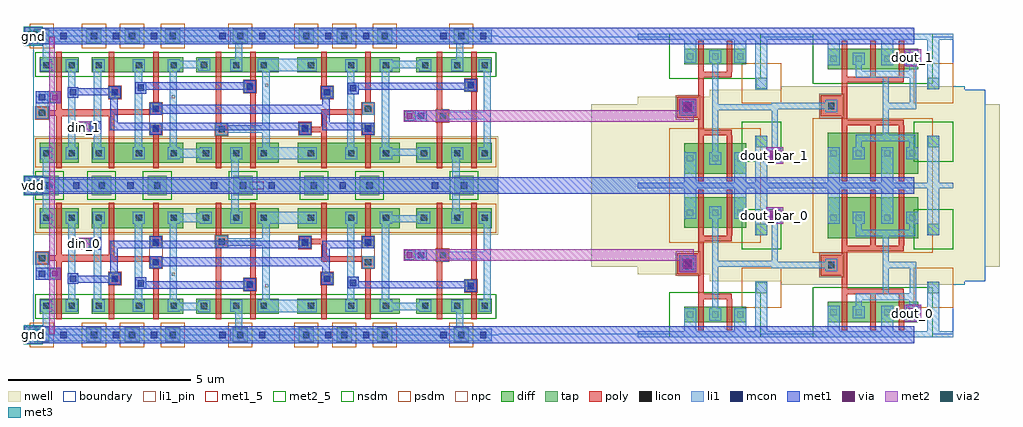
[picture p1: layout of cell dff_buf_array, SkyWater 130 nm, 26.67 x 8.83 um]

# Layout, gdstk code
import gdstk
lib = gdstk.Library(unit=1e-6, precision=1e-09)
def R(c, l, rs):  # rectangles x0, y0, x1, y1
    for r in rs: c.add(gdstk.rectangle(r[:2], r[2:], *l))
def A(c, l, x, y, w, h, nx, ny, dx, dy):  # array of equal rectangles
    R(c, l, [(x+i*dx, y+j*dy, x+i*dx+w, y+j*dy+h) for i in range(nx) for j in range(ny)])
nwell = (64, 20)
diff = (65, 20)
tap = (65, 44)
poly = (66, 20)
licon = (66, 44)
li1_pin = (67, 16)
li1 = (67, 20)
mcon = (67, 44)
met1_5 = (68, 5)
met1 = (68, 20)
via = (68, 44)
met2_5 = (69, 5)
met2 = (69, 20)
via2 = (69, 44)
met3 = (70, 20)
nsdm = (93, 44)
psdm = (94, 20)
npc = (95, 20)
boundary = (235, 4)

dff = lib.new_cell('dff')
R(dff, nwell, [(-1.06,2.71,11.65,4.51)])
R(dff, diff, [(-0.88,0.55,0.19,0.97), (0.55,0.55,3.05,0.97), (3.4,0.55,5.65,0.97), (6.16,0.55,8.96,0.97), (9.41,0.55,11.47,0.97), (-0.88,2.89,0.19,3.44), (0.55,2.89,3.05,3.44), (3.4,2.89,5.66,3.44), (6.17,2.89,8.96,3.44), (9.41,2.89,11.47,3.44)])
R(dff, tap, [(-1.03,-0.23,-0.62,0.18), (0.4,-0.23,0.81,0.18), (1.44,-0.23,1.85,0.18), (2.55,-0.23,2.96,0.18), (4.4,-0.23,4.81,0.18), (6.2,-0.23,6.61,0.18), (7.24,-0.23,7.65,0.18), (8.35,-0.23,8.76,0.18), (10.44,-0.23,10.85,0.18), (-0.88,3.8,-0.35,4.33), (0.55,3.8,1.08,4.33), (2.07,3.8,2.6,4.33), (4.41,3.8,4.94,4.33), (6.35,3.8,6.88,4.33), (7.87,3.8,8.4,4.33), (10.45,3.8,10.98,4.33)])
R(dff, poly, [(-0.42,0.4,-0.27,1.97), (1.01,0.4,1.16,1.35), (2.22,0.4,2.37,1.8), (3.93,0.4,4.08,2.36), (4.88,0.4,5.03,1.19), (6.81,0.4,6.96,1.35), (8.02,0.4,8.17,1.8), (9.97,0.4,10.12,1.99), (10.92,0.4,11.07,1.15), (10.74,1.15,11.07,1.48), (4.7,1.19,5.03,1.52), (1.01,1.35,1.34,1.68), (6.81,1.35,7.14,1.68), (10.92,1.48,11.07,3.59), (4.88,1.52,5.03,3.59), (2.13,1.8,2.46,1.97), (7.93,1.8,8.26,1.97), (-0.98,1.91,-0.65,2), (-0.42,1.97,2.46,2), (6.81,1.97,8.26,2.13), (9.97,1.99,10.3,2.32), (-0.98,2,2.46,2.13), (-0.98,2.13,1.16,2.15), (6.81,2.13,6.96,2.45), (-0.98,2.15,-0.65,2.24), (-0.42,2.15,1.16,2.17), (-0.42,2.17,-0.27,3.59), (1.01,2.17,1.16,3.59), (9.97,2.32,10.12,3.59), (2.13,2.34,2.46,2.67), (6.21,2.34,6.54,2.45), (7.93,2.34,8.26,2.67), (3.93,2.36,4.26,2.69), (6.21,2.45,6.96,2.6), (6.21,2.6,6.54,2.67), (6.81,2.6,6.96,3.59), (2.22,2.67,2.37,3.59), (8.02,2.67,8.17,3.59), (3.93,2.69,4.08,3.59)])
R(dff, licon, [(-0.91,-0.11,-0.74,0.06), (0.52,-0.11,0.69,0.06), (1.56,-0.11,1.73,0.06), (2.67,-0.11,2.84,0.06), (4.52,-0.11,4.69,0.06), (6.32,-0.11,6.49,0.06), (7.36,-0.11,7.53,0.06), (8.47,-0.11,8.64,0.06), (10.56,-0.11,10.73,0.06), (3.53,0.68,3.7,0.85), (-0.78,0.69,-0.61,0.86), (-0.09,0.69,0.08,0.86), (0.65,0.69,0.82,0.86), (1.75,0.69,1.92,0.86), (2.7,0.69,2.87,0.86), (4.41,0.69,4.58,0.86), (5.16,0.69,5.33,0.86), (6.45,0.69,6.62,0.86), (7.55,0.69,7.72,0.86), (8.5,0.69,8.67,0.86), (9.57,0.69,9.74,0.86), (10.45,0.69,10.62,0.86), (11.2,0.69,11.37,0.86), (10.82,1.23,10.99,1.4), (4.78,1.27,4.95,1.44), (1.09,1.43,1.26,1.6), (6.89,1.43,7.06,1.6), (2.21,1.88,2.38,2.05), (8.01,1.88,8.18,2.05), (-0.9,1.99,-0.73,2.16), (10.05,2.07,10.22,2.24), (2.21,2.42,2.38,2.59), (6.29,2.42,6.46,2.59), (8.01,2.42,8.18,2.59), (4.01,2.44,4.18,2.61), (-0.78,3.09,-0.61,3.26), (-0.09,3.09,0.08,3.26), (0.65,3.09,0.82,3.26), (1.75,3.09,1.92,3.26), (2.7,3.09,2.87,3.26), (3.58,3.09,3.75,3.26), (4.41,3.09,4.58,3.26), (5.16,3.09,5.33,3.26), (6.45,3.09,6.62,3.26), (7.55,3.09,7.72,3.26), (8.5,3.09,8.67,3.26), (9.54,3.09,9.71,3.26), (10.45,3.09,10.62,3.26), (11.2,3.09,11.37,3.26), (-0.7,3.98,-0.53,4.15), (0.73,3.98,0.9,4.15), (2.25,3.98,2.42,4.15), (4.59,3.98,4.76,4.15), (6.53,3.98,6.7,4.15), (8.05,3.98,8.22,4.15), (10.63,3.98,10.8,4.15)])
R(dff, li1_pin, [(5.29,1.28,5.37,1.36), (1.83,1.34,1.91,1.41), (7.65,1.34,7.73,1.41), (1.11,1.44,1.22,1.57), (2.73,1.6,2.81,1.68), (8.52,3.1,8.62,3.22)])
R(dff, li1, [(-1.06,-0.19,11.47,0.14), (-0.8,0.14,-0.6,0.61), (4.46,0.14,4.66,0.61), (10.5,0.14,10.7,0.61), (3.45,0.6,3.78,0.65), (5.08,0.6,6.7,0.94), (-0.86,0.61,-0.53,0.94), (-0.17,0.61,0.16,0.94), (0.57,0.61,0.9,0.94), (1.67,0.61,2,0.94), (2.62,0.61,2.95,0.65), (4.33,0.61,4.66,0.94), (7.47,0.61,7.8,0.94), (8.42,0.61,8.75,0.65), (9.49,0.61,9.82,0.65), (10.37,0.61,10.7,0.94), (11.12,0.61,11.45,0.94), (2.62,0.65,3.78,0.85), (8.42,0.65,9.82,0.85), (2.62,0.85,2.95,0.94), (3.45,0.85,3.78,0.93), (8.42,0.85,8.75,0.94), (9.49,0.85,9.82,0.94), (-0.1,0.94,0.1,1.37), (0.6,0.94,0.8,2.33), (1.72,0.94,1.92,1.24), (2.67,0.94,2.87,3.01), (5.21,0.94,5.41,2.42), (7.52,0.94,7.72,1.25), (8.47,0.94,8.67,3.01), (11.25,0.94,11.45,2.05), (10.74,1.15,11.07,1.48), (4.7,1.19,5.03,1.52), (1.72,1.24,2.04,1.55), (7.52,1.25,7.84,1.56), (1.01,1.35,1.34,1.68), (6.81,1.35,7.14,1.68), (-0.11,1.37,0.18,1.66), (-0.98,1.49,-0.65,2.24), (1.72,1.55,1.92,3.01), (7.52,1.56,7.72,3.01), (-0.1,1.66,0.1,3.01), (2.13,1.8,2.46,2.13), (7.93,1.8,8.26,2.13), (9.97,1.99,10.3,2), (9.39,2,10.3,2.05), (9.39,2.05,11.45,2.25), (9.39,2.25,10.3,2.32), (11.25,2.25,11.45,3.01), (0.52,2.33,0.8,2.61), (2.13,2.34,2.46,2.67), (6.21,2.34,6.54,2.67), (7.93,2.34,8.26,2.67), (3.93,2.36,4.26,2.42), (3.93,2.42,5.41,2.62), (0.6,2.61,0.8,3.01), (3.93,2.62,4.26,2.69), (5.21,2.62,5.41,3.01), (-0.86,3.01,-0.53,3.34), (-0.17,3.01,0.16,3.34), (0.57,3.01,0.9,3.34), (1.67,3.01,2,3.34), (2.62,3.01,2.95,3.05), (3.5,3.01,3.83,3.05), (4.33,3.01,4.66,3.34), (5.08,3.01,6.7,3.34), (7.47,3.01,7.8,3.34), (8.42,3.01,8.75,3.05), (9.46,3.01,9.79,3.05), (10.37,3.01,10.7,3.34), (11.12,3.01,11.45,3.34), (2.62,3.05,3.83,3.3), (8.42,3.05,9.79,3.25), (8.42,3.25,8.75,3.34), (9.46,3.25,9.79,3.34), (2.62,3.3,2.95,3.34), (3.5,3.3,3.83,3.34), (-0.8,3.34,-0.6,3.9), (4.36,3.34,4.56,3.9), (10.4,3.34,10.6,3.9), (-1,3.9,11.65,4.23)])
R(dff, mcon, [(-0.31,-0.11,-0.14,0.06), (1.12,-0.11,1.29,0.06), (2.16,-0.11,2.33,0.06), (4.03,-0.11,4.2,0.06), (5.12,-0.11,5.29,0.06), (6.92,-0.11,7.09,0.06), (7.96,-0.11,8.13,0.06), (10.07,-0.11,10.24,0.06), (11.16,-0.11,11.33,0.06), (10.82,1.23,10.99,1.4), (4.78,1.27,4.95,1.44), (1.8,1.3,1.97,1.47), (7.6,1.31,7.77,1.48), (-0.05,1.43,0.12,1.6), (1.09,1.43,1.26,1.6), (6.89,1.43,7.06,1.6), (-0.9,1.56,-0.73,1.73), (2.21,1.88,2.38,2.05), (9.46,2.07,9.63,2.24), (0.57,2.38,0.74,2.55), (2.21,2.42,2.38,2.59), (6.29,2.42,6.46,2.59), (8.01,2.42,8.18,2.59), (0.04,3.98,0.21,4.15), (1.52,3.98,1.69,4.15), (3.8,3.98,3.97,4.15), (5.38,3.98,5.55,4.15), (7.32,3.98,7.49,4.15), (9.84,3.98,10.01,4.15)])
R(dff, met1_5, [(4.33,-0.19,5.68,0.14), (4.86,3.96,5.25,4.16)])
R(dff, met1, [(-1.06,-0.25,11.65,0.2), (-1.06,-0.25,11.65,0.2), (10.73,1.15,11.07,1.25), (4.7,1.19,5.03,1.24), (1.74,1.24,5.03,1.45), (7.54,1.25,11.07,1.45), (1.01,1.35,1.34,1.4), (6.81,1.35,7.14,1.68), (-0.11,1.37,0.18,1.4), (-0.11,1.4,1.34,1.6), (1.74,1.45,2.04,1.55), (4.7,1.45,5.03,1.52), (7.54,1.45,7.84,1.56), (10.73,1.45,11.07,1.48), (-0.98,1.49,-0.3,1.81), (-0.11,1.6,0.18,1.66), (1.01,1.6,1.34,1.68), (1.05,1.68,1.25,2.35), (6.85,1.68,7.05,1.85), (2.13,1.8,2.46,1.85), (2.13,1.85,7.05,2.1), (9.07,2,9.7,2.32), (2.13,2.1,2.46,2.13), (6.85,2.1,7.05,2.35), (0.17,2.31,0.8,2.63), (2.13,2.34,2.46,2.35), (6.21,2.34,6.54,2.35), (7.93,2.34,8.26,2.35), (1.05,2.35,6.54,2.55), (6.85,2.35,8.26,2.55), (2.13,2.55,2.46,2.67), (6.21,2.55,6.54,2.67), (7.93,2.55,8.26,2.67), (-1.06,3.84,11.65,4.29), (-1.06,3.84,11.65,4.29)])
R(dff, via, [(-0.535,1.575,-0.385,1.725), (9.155,2.085,9.305,2.235), (0.265,2.395,0.415,2.545)])
R(dff, met2_5, [(-0.59,1.52,-0.33,1.78), (9.1,2.03,9.36,2.29), (0.21,2.34,0.47,2.6)])
R(dff, met2, [(-0.61,1.49,-0.3,1.81), (-0.61,1.49,-0.3,1.81), (9.07,2,9.39,2.32), (9.07,2,9.39,2.32), (0.17,2.31,0.51,2.63), (0.17,2.31,0.51,2.63)])
R(dff, nsdm, [(-1.005,0.425,11.595,1.095), (-1.005,3.675,-0.225,4.455), (0.425,3.675,1.205,4.455), (1.945,3.675,2.725,4.455), (4.285,3.675,5.065,4.455), (6.225,3.675,7.005,4.455), (7.745,3.675,8.525,4.455), (10.325,3.675,11.105,4.455)])
R(dff, psdm, [(-1.155,-0.355,-0.495,0.305), (0.275,-0.355,0.935,0.305), (1.315,-0.355,1.975,0.305), (2.425,-0.355,3.085,0.305), (4.275,-0.355,4.935,0.305), (6.075,-0.355,6.735,0.305), (7.115,-0.355,7.775,0.305), (8.225,-0.355,8.885,0.305), (10.315,-0.355,10.975,0.305), (-1.005,2.765,11.595,3.565)])
R(dff, npc, [(10.72,1.13,11.09,1.5), (4.68,1.17,5.05,1.54), (0.99,1.33,1.36,1.7), (6.79,1.33,7.16,1.7), (2.11,1.78,2.48,2.69), (7.91,1.78,8.28,2.69), (-1,1.89,-0.63,2.26), (9.95,1.97,10.32,2.34), (6.19,2.32,6.56,2.69), (3.91,2.34,4.28,2.71)])
R(dff, boundary, [(-1.06,-0.03,11.65,4.06)])
dff.add(gdstk.Label('net1', (1.87,1.375), layer=67, texttype=16))
dff.add(gdstk.Label('net2', (2.77,1.64), layer=67, texttype=16))
dff.add(gdstk.Label('net3', (5.33,1.32), layer=67, texttype=16))
dff.add(gdstk.Label('net4', (7.69,1.375), layer=67, texttype=16))
dff.add(gdstk.Label('net5', (8.57,3.16), layer=67, texttype=16))
dff.add(gdstk.Label('clkb', (1.165,1.505), layer=67, texttype=16))
dff.add(gdstk.Label('vdd', (5.055,4.06), layer=68, texttype=5))
dff.add(gdstk.Label('gnd', (5.005,-0.025), layer=68, texttype=5))
dff.add(gdstk.Label('D', (0.34,2.47), layer=69, texttype=5))
dff.add(gdstk.Label('Q', (9.23,2.16), layer=69, texttype=5))
dff.add(gdstk.Label('clk', (-0.46,1.65), layer=69, texttype=5))
dff.add(gdstk.Label('D', (0.34,2.47), layer=69, texttype=20))
dff.add(gdstk.Label('Q', (9.23,2.16), layer=69, texttype=20))
dff.add(gdstk.Label('clk', (-0.455,1.65), layer=69, texttype=20))
dff.add(gdstk.Label('vdd', (5.295,4.065), layer=68, texttype=20))
dff.add(gdstk.Label('gnd', (5.295,-0.025), layer=68, texttype=20))

contact_12 = lib.new_cell('contact_12')
R(contact_12, nwell, [(-1.25,-1.25,1.58,1.58)])
R(contact_12, diff, [(0.02,0.02,0.31,0.31)])
R(contact_12, tap, [(0.08,0.08,0.25,0.25)])
R(contact_12, li1, [(0,0,0.33,0.33)])
R(contact_12, psdm, [(-0.38,-0.38,0.71,0.71)])
R(contact_12, boundary, [(-1.25,-1.25,1.58,1.58)])

pmos_m2_w0_840_sli_dli_d = lib.new_cell('pmos_m2_w0_840_sli_dli_da_p')
R(pmos_m2_w0_840_sli_dli_d, nwell, [(-1.27,-1.27,2.97,2.11)])
R(pmos_m2_w0_840_sli_dli_d, diff, [(0,0,1.7,0.84)])
R(pmos_m2_w0_840_sli_dli_d, poly, [(0.39,-0.36,1.31,-0.21), (0.39,-0.21,0.54,1.05), (1.17,-0.21,1.32,1.05)])
R(pmos_m2_w0_840_sli_dli_d, li1, [(0,0.25,0.33,0.59), (0.69,0.25,1.01,0.59), (1.37,0.25,1.7,0.59)])
R(pmos_m2_w0_840_sli_dli_d, psdm, [(-0.4,-0.4,2.1,1.24)])
R(pmos_m2_w0_840_sli_dli_d, boundary, [(-1.27,-1.27,2.97,2.11)])
pmos_m2_w0_840_sli_dli_d.add(gdstk.Reference(contact_12, (0,0.25)))
pmos_m2_w0_840_sli_dli_d.add(gdstk.Reference(contact_12, (0.69,0.25)))
pmos_m2_w0_840_sli_dli_d.add(gdstk.Reference(contact_12, (1.37,0.25)))
pmos_m2_w0_840_sli_dli_d.add(gdstk.Label('G', (0.85,-0.285), layer=66, texttype=20))
pmos_m2_w0_840_sli_dli_d.add(gdstk.Label('S', (1.535,0.42), layer=67, texttype=20))
pmos_m2_w0_840_sli_dli_d.add(gdstk.Label('S', (0.165,0.42), layer=67, texttype=20))
pmos_m2_w0_840_sli_dli_d.add(gdstk.Label('D', (0.85,0.42), layer=67, texttype=20))

contact_11 = lib.new_cell('contact_11')
R(contact_11, diff, [(0.02,0.02,0.31,0.31)])
R(contact_11, tap, [(0.08,0.08,0.25,0.25)])
R(contact_11, li1, [(0,0,0.33,0.33)])
R(contact_11, nsdm, [(-0.38,-0.38,0.71,0.71)])
R(contact_11, boundary, [(-0.38,-0.38,0.71,0.71)])

nmos_m2_w0_420_sli_dli_d = lib.new_cell('nmos_m2_w0_420_sli_dli_da_p')
R(nmos_m2_w0_420_sli_dli_d, diff, [(0,0,1.7,0.42)])
R(nmos_m2_w0_420_sli_dli_d, poly, [(0.39,-0.21,0.54,0.63), (1.17,-0.21,1.32,0.63), (0.39,0.63,1.31,0.78)])
R(nmos_m2_w0_420_sli_dli_d, li1, [(0,0.05,0.33,0.37), (0.69,0.05,1.01,0.37), (1.37,0.05,1.7,0.37)])
R(nmos_m2_w0_420_sli_dli_d, nsdm, [(-0.4,-0.4,2.1,0.82)])
R(nmos_m2_w0_420_sli_dli_d, boundary, [(-0.4,-0.4,2.1,0.82)])
nmos_m2_w0_420_sli_dli_d.add(gdstk.Reference(contact_11, (0,0.05)))
nmos_m2_w0_420_sli_dli_d.add(gdstk.Reference(contact_11, (0.69,0.05)))
nmos_m2_w0_420_sli_dli_d.add(gdstk.Reference(contact_11, (1.37,0.05)))
nmos_m2_w0_420_sli_dli_d.add(gdstk.Label('G', (0.85,0.705), layer=66, texttype=20))
nmos_m2_w0_420_sli_dli_d.add(gdstk.Label('S', (1.535,0.21), layer=67, texttype=20))
nmos_m2_w0_420_sli_dli_d.add(gdstk.Label('S', (0.165,0.21), layer=67, texttype=20))
nmos_m2_w0_420_sli_dli_d.add(gdstk.Label('D', (0.85,0.21), layer=67, texttype=20))

contact_13 = lib.new_cell('contact_13')
R(contact_13, nwell, [(-1.25,-1.25,1.58,1.58)])
R(contact_13, tap, [(0.02,0.02,0.31,0.31), (0.08,0.08,0.25,0.25)])
R(contact_13, li1, [(0,0,0.33,0.33)])
R(contact_13, nsdm, [(-0.38,-0.38,0.71,0.71)])
R(contact_13, boundary, [(-1.25,-1.25,1.58,1.58)])

contact_14 = lib.new_cell('contact_14')
R(contact_14, tap, [(0.02,0.02,0.31,0.31), (0.08,0.08,0.25,0.25)])
R(contact_14, li1, [(0,0,0.33,0.33)])
R(contact_14, psdm, [(-0.38,-0.38,0.71,0.71)])
R(contact_14, boundary, [(-0.38,-0.38,0.71,0.71)])

contact_15 = lib.new_cell('contact_15')
R(contact_15, poly, [(0,0,0.57,0.57)])
R(contact_15, licon, [(0.2,0.2,0.37,0.37)])
R(contact_15, li1, [(0.12,0.12,0.45,0.45)])
R(contact_15, npc, [(-0.05,-0.05,0.62,0.62)])
R(contact_15, boundary, [(-0.05,-0.05,0.62,0.62)])

pinv_3 = lib.new_cell('pinv_3')
R(pinv_3, nwell, [(-1.27,1.95,5.19,6.28)])
R(pinv_3, poly, [(1.66,1.1,1.81,2.54), (1.38,1.64,1.66,2.21)])
R(pinv_3, li1, [(0,-0.08,3.92,0.08), (1.27,-0.08,1.6,0.37), (2.64,-0.08,2.97,0.37), (3.22,0,3.55,1.27), (2.04,0.37,2.21,3.49), (1.21,1.76,1.54,2.08), (2.12,1.84,2.29,2), (3.22,2.86,3.55,4.06), (1.27,3.15,1.6,4.14), (2.64,3.15,2.97,4.14), (0,3.98,3.92,4.14)])
R(pinv_3, boundary, [(0,0,3.92,4.06), (0,0,3.92,4.06)])
pinv_3.add(gdstk.Reference(pmos_m2_w0_840_sli_dli_d, (1.27,2.9)))
pinv_3.add(gdstk.Reference(nmos_m2_w0_420_sli_dli_d, (1.27,0.32)))
pinv_3.add(gdstk.Reference(contact_13, (3.22,2.7)))
pinv_3.add(gdstk.Reference(contact_14, (3.22,1.1)))
pinv_3.add(gdstk.Reference(contact_15, (1.09,1.64)))
pinv_3.add(gdstk.Label('A', (1.375,1.92), layer=67, texttype=20))
pinv_3.add(gdstk.Label('Z', (2.205,1.92), layer=67, texttype=20))
pinv_3.add(gdstk.Label('gnd', (1.96,0), layer=67, texttype=20))
pinv_3.add(gdstk.Label('vdd', (1.96,4.06), layer=67, texttype=20))

pmos_m3_w1_120_sli_dli_d = lib.new_cell('pmos_m3_w1_120_sli_dli_da_p')
R(pmos_m3_w1_120_sli_dli_d, nwell, [(-1.27,-1.27,3.75,2.39)])
R(pmos_m3_w1_120_sli_dli_d, diff, [(0,0,2.48,1.12)])
A(pmos_m3_w1_120_sli_dli_d, poly, 0.39, -0.21, 0.15, 1.54, 3, 1, 0.78, 0)
R(pmos_m3_w1_120_sli_dli_d, poly, [(0.39,-0.36,2.09,-0.21)])
R(pmos_m3_w1_120_sli_dli_d, li1, [(0.77,0.05,2.4,0.23), (0.77,0.14,0.94,0.56), (2.23,0.14,2.4,0.56), (0,0.39,0.33,0.73), (1.47,0.39,1.79,0.73)])
R(pmos_m3_w1_120_sli_dli_d, psdm, [(-0.4,-0.4,2.88,1.52)])
R(pmos_m3_w1_120_sli_dli_d, boundary, [(-1.27,-1.27,3.75,2.39)])
pmos_m3_w1_120_sli_dli_d.add(gdstk.Reference(contact_12, (0,0.39)))
pmos_m3_w1_120_sli_dli_d.add(gdstk.Reference(contact_12, (0.69,0.39)))
pmos_m3_w1_120_sli_dli_d.add(gdstk.Reference(contact_12, (1.47,0.39)))
pmos_m3_w1_120_sli_dli_d.add(gdstk.Reference(contact_12, (2.15,0.39)))
pmos_m3_w1_120_sli_dli_d.add(gdstk.Label('G', (1.24,-0.285), layer=66, texttype=20))
pmos_m3_w1_120_sli_dli_d.add(gdstk.Label('S', (1.63,0.56), layer=67, texttype=20))
pmos_m3_w1_120_sli_dli_d.add(gdstk.Label('S', (0.165,0.56), layer=67, texttype=20))
pmos_m3_w1_120_sli_dli_d.add(gdstk.Label('D', (1.585,0.14), layer=67, texttype=20))

nmos_m3_w0_560_sli_dli_d = lib.new_cell('nmos_m3_w0_560_sli_dli_da_p')
R(nmos_m3_w0_560_sli_dli_d, diff, [(0,0,2.48,0.56)])
A(nmos_m3_w0_560_sli_dli_d, poly, 0.39, -0.21, 0.15, 0.98, 3, 1, 0.78, 0)
R(nmos_m3_w0_560_sli_dli_d, poly, [(0.39,0.77,2.09,0.92)])
R(nmos_m3_w0_560_sli_dli_d, li1, [(0,0.11,0.33,0.45), (1.47,0.11,1.79,0.45), (0.77,0.28,0.94,0.7), (2.23,0.28,2.4,0.7), (0.77,0.61,2.4,0.79)])
R(nmos_m3_w0_560_sli_dli_d, nsdm, [(-0.4,-0.4,2.88,0.96)])
R(nmos_m3_w0_560_sli_dli_d, boundary, [(-0.4,-0.4,2.88,0.96)])
nmos_m3_w0_560_sli_dli_d.add(gdstk.Reference(contact_11, (0,0.11)))
nmos_m3_w0_560_sli_dli_d.add(gdstk.Reference(contact_11, (0.69,0.11)))
nmos_m3_w0_560_sli_dli_d.add(gdstk.Reference(contact_11, (1.47,0.11)))
nmos_m3_w0_560_sli_dli_d.add(gdstk.Reference(contact_11, (2.15,0.11)))
nmos_m3_w0_560_sli_dli_d.add(gdstk.Label('G', (1.24,0.845), layer=66, texttype=20))
nmos_m3_w0_560_sli_dli_d.add(gdstk.Label('S', (1.63,0.28), layer=67, texttype=20))
nmos_m3_w0_560_sli_dli_d.add(gdstk.Label('S', (0.165,0.28), layer=67, texttype=20))
nmos_m3_w0_560_sli_dli_d.add(gdstk.Label('D', (1.585,0.7), layer=67, texttype=20))

pinv_4 = lib.new_cell('pinv_4')
R(pinv_4, nwell, [(-1.27,1.95,5.97,6.28)])
R(pinv_4, poly, [(1.66,1.24,1.81,2.26), (1.38,1.6,1.66,2.17)])
R(pinv_4, li1, [(0,-0.08,4.7,0.08), (1.27,-0.08,1.6,0.43), (2.74,-0.08,3.06,0.43), (4,0,4.33,1.27), (2.78,0.93,2.95,2.85), (1.21,1.72,1.54,2.06), (2.86,1.8,3.02,1.98), (4,2.86,4.33,4.06), (1.27,3.01,1.6,4.14), (2.74,3.01,3.06,4.14), (0,3.98,4.7,4.14)])
R(pinv_4, boundary, [(0,0,4.7,4.06), (0,0,4.7,4.06)])
pinv_4.add(gdstk.Reference(pmos_m3_w1_120_sli_dli_d, (1.27,2.62)))
pinv_4.add(gdstk.Reference(nmos_m3_w0_560_sli_dli_d, (1.27,0.32)))
pinv_4.add(gdstk.Reference(contact_13, (4,2.7)))
pinv_4.add(gdstk.Reference(contact_14, (4,1.1)))
pinv_4.add(gdstk.Reference(contact_15, (1.09,1.6)))
pinv_4.add(gdstk.Label('A', (1.375,1.89), layer=67, texttype=20))
pinv_4.add(gdstk.Label('Z', (2.94,1.89), layer=67, texttype=20))
pinv_4.add(gdstk.Label('gnd', (2.35,0), layer=67, texttype=20))
pinv_4.add(gdstk.Label('vdd', (2.35,4.06), layer=67, texttype=20))

contact_16 = lib.new_cell('contact_16')
R(contact_16, li1, [(0.06,0.06,0.23,0.23)])
R(contact_16, mcon, [(0.06,0.06,0.23,0.23)])
R(contact_16, met1, [(0,0,0.29,0.29)])
R(contact_16, boundary, [(0,0,0.29,0.29)])

contact_6 = lib.new_cell('contact_6')
R(contact_6, met1, [(0,0,0.46,0.46)])
R(contact_6, via, [(0.1,0.1,0.36,0.36)])
R(contact_6, met2, [(0,0,0.46,0.46)])
R(contact_6, boundary, [(0,0,0.46,0.46)])

dff_buf_0 = lib.new_cell('dff_buf_0')
R(dff_buf_0, li1, [(22.9,0.57,23.07,1.89), (19.12,1.8,19.29,1.97), (19.21,1.8,20.76,1.97), (22.32,1.8,22.98,1.97), (22.9,1.8,23.07,1.97), (17.66,1.84,19.21,2.01), (19.12,1.84,19.29,2.01), (19.12,1.89,19.29,1.92), (19.12,1.92,19.29,3.24)])
R(dff_buf_0, met1, [(-1.06,-0.25,23.02,0.2), (-1.06,3.84,23.02,4.29)])
R(dff_buf_0, met2, [(22.91,0.5,23.05,0.64), (-0.61,1.49,-0.3,1.81), (16.68,1.92,17,2.16), (9.23,2,16.84,2.32), (16.68,2,17,2.32), (0.17,2.31,0.51,2.63), (19.14,3.17,19.28,3.31)])
R(dff_buf_0, boundary, [(0,0,24.08,4.06)])
dff_buf_0.add(gdstk.Reference(dff, (0,0)))
dff_buf_0.add(gdstk.Reference(pinv_3, (15.46,0)))
dff_buf_0.add(gdstk.Reference(pinv_4, (19.38,0)))
dff_buf_0.add(gdstk.Reference(contact_16, (16.69,1.78)))
dff_buf_0.add(gdstk.Reference(contact_6, (16.6,1.69)))
dff_buf_0.add(gdstk.Reference(contact_16, (22.84,0.42)))
dff_buf_0.add(gdstk.Reference(contact_6, (22.75,0.34)))
dff_buf_0.add(gdstk.Reference(contact_16, (19.06,3.1)))
dff_buf_0.add(gdstk.Reference(contact_6, (18.98,3.01)))
dff_buf_0.add(gdstk.Label('vdd', (10.98,4.065), layer=68, texttype=20))
dff_buf_0.add(gdstk.Label('gnd', (10.98,-0.025), layer=68, texttype=20))
dff_buf_0.add(gdstk.Label('clk', (-0.455,1.65), layer=69, texttype=20))
dff_buf_0.add(gdstk.Label('D', (0.34,2.47), layer=69, texttype=20))
dff_buf_0.add(gdstk.Label('Q', (22.98,0.57), layer=69, texttype=20))
dff_buf_0.add(gdstk.Label('Qb', (19.21,3.24), layer=69, texttype=20))

contact_7 = lib.new_cell('contact_7')
R(contact_7, met2, [(0,0,0.52,0.52)])
R(contact_7, via2, [(0.12,0.12,0.4,0.4)])
R(contact_7, met3, [(0.04,0.04,0.48,0.48)])
R(contact_7, boundary, [(0,0,0.52,0.52)])

dff_buf_array = lib.new_cell('dff_buf_array')
R(dff_buf_array, met1, [(-1.06,-0.24,23.02,0.21), (-1.06,3.84,23.02,4.29), (-1.06,3.84,23.02,4.29), (-1.06,7.92,23.02,8.37)])
R(dff_buf_array, met2, [(-0.61,0,-0.47,8.12), (22.91,0.5,23.05,0.64), (0.17,2.31,0.51,2.63), (19.14,3.17,19.28,3.31), (19.14,4.81,19.28,4.95), (0.17,5.49,0.51,5.81), (22.91,7.48,23.05,7.62)])
R(dff_buf_array, met3, [(-1.32,-0.28,-0.8,0.24), (-1.32,3.8,-0.8,4.32), (-1.32,3.8,-0.8,4.32), (-1.32,7.88,-0.8,8.4)])
R(dff_buf_array, boundary, [(0,0,24.08,8.12)])
dff_buf_array.add(gdstk.Reference(dff_buf_0, (0,0)))
dff_buf_array.add(gdstk.Reference(dff_buf_0, (0,8.12), x_reflection=True))
dff_buf_array.add(gdstk.Reference(contact_6, (-1.29,3.84)))
dff_buf_array.add(gdstk.Reference(contact_7, (-1.32,3.8)))
dff_buf_array.add(gdstk.Reference(contact_6, (-1.29,-0.26)))
dff_buf_array.add(gdstk.Reference(contact_7, (-1.32,-0.28)))
dff_buf_array.add(gdstk.Reference(contact_6, (-1.29,3.82)))
dff_buf_array.add(gdstk.Reference(contact_7, (-1.32,3.8)))
dff_buf_array.add(gdstk.Reference(contact_6, (-1.29,7.92)))
dff_buf_array.add(gdstk.Reference(contact_7, (-1.32,7.88)))
dff_buf_array.add(gdstk.Label('vdd', (-1.06,4.06), layer=70, texttype=20))
dff_buf_array.add(gdstk.Label('vdd', (-1.06,4.06), layer=70, texttype=20))
dff_buf_array.add(gdstk.Label('gnd', (-1.06,-0.02), layer=70, texttype=20))
dff_buf_array.add(gdstk.Label('gnd', (-1.06,8.14), layer=70, texttype=20))
dff_buf_array.add(gdstk.Label('din_0', (0.34,2.47), layer=69, texttype=20))
dff_buf_array.add(gdstk.Label('dout_0', (22.98,0.57), layer=69, texttype=20))
dff_buf_array.add(gdstk.Label('dout_bar_0', (19.21,3.24), layer=69, texttype=20))
dff_buf_array.add(gdstk.Label('din_1', (0.34,5.65), layer=69, texttype=20))
dff_buf_array.add(gdstk.Label('dout_1', (22.98,7.55), layer=69, texttype=20))
dff_buf_array.add(gdstk.Label('dout_bar_1', (19.21,4.88), layer=69, texttype=20))
dff_buf_array.add(gdstk.Label('clk', (-0.54,4.06), layer=69, texttype=20))

lib.write_gds('dff_buf_array.gds')
